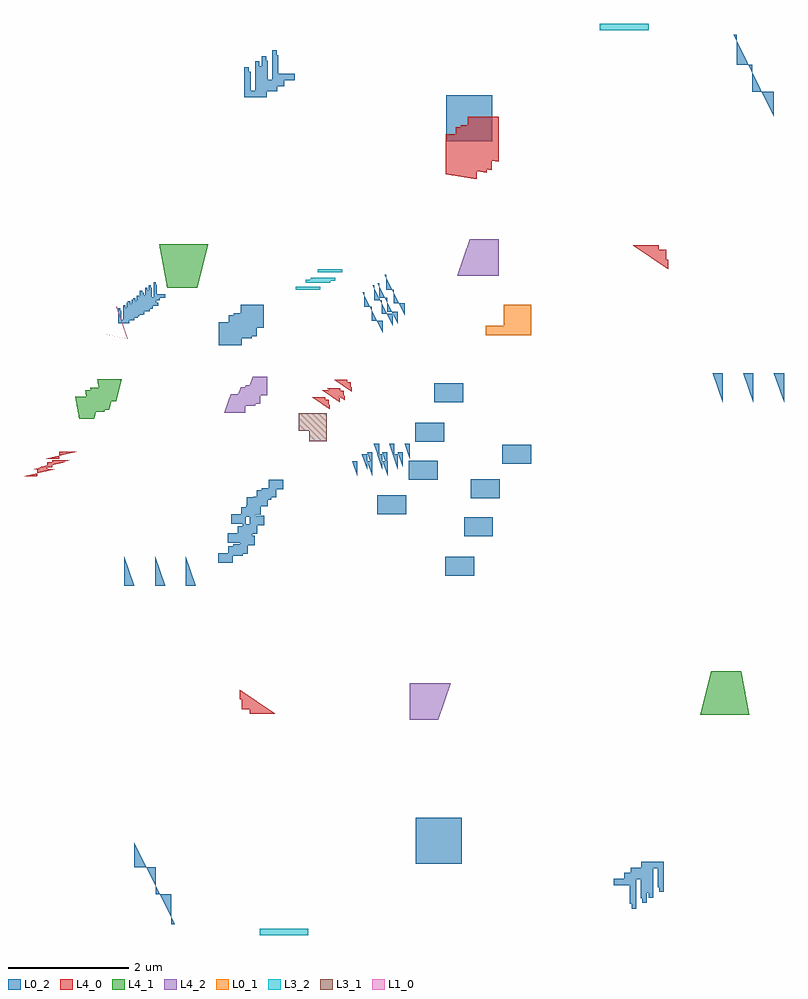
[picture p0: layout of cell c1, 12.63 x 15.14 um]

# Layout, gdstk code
from math import pi, radians
import gdstk
lib = gdstk.Library(unit=1e-6, precision=2.5e-09)
def R(c, l, rs):  # rectangles x0, y0, x1, y1
    for r in rs: c.add(gdstk.rectangle(r[:2], r[2:], *l))
def P(c, l, *ps):  # polygons
    for p in ps: c.add(gdstk.Polygon(p, *l))
L0_1 = (0, 1)
L0_2 = (0, 2)
L1_0 = (1, 0)
L3_1 = (3, 1)
L3_2 = (3, 2)
L4_0 = (4, 0)
L4_1 = (4, 1)
L4_2 = (4, 2)

c_c0 = lib.new_cell('c0')
R(c_c0, L0_2, [(0.035,-3.5775,0.8,-2.8125), (0.9625,2.235,1.4425,2.5475), (0.44,2.81,0.92,3.1225), (0.33,3.44,0.81,3.7525), (0.0175,4.1,0.4975,4.4125)])
P(c_c0, L0_2, [(4.46,1.045),(4.6275,1.045),(4.6275,1.5325)],
  [(4.97,1.045),(5.1375,1.045),(5.1375,1.5325)],
  [(5.48,1.045),(5.6475,1.045),(5.6475,1.5325)],
  [(4.8125,-4.58),(4.865,-4.58),(4.865,-4.085),(5.1225,-4.085),(5.1225,-3.63),(5.48,-3.63),(5.48,-3.2275)],
  [(-3.145,-4.1375),(-3.0725,-4.1375),(-3.0725,-4.06),(-3.0425,-4.06),(-3.0425,-3.75),(-2.7725,-3.75),(-2.7725,-3.6375),(-3.145,-3.6375)],
  [(-2.86,-4.32),(-2.7875,-4.32),(-2.7875,-4.2425),(-2.7575,-4.2425),(-2.7575,-3.9325),(-2.4875,-3.9325),(-2.4875,-3.82),(-2.86,-3.82)],
  [(-3.32,-4.04),(-3.2475,-4.04),(-3.2475,-3.9625),(-3.2175,-3.9625),(-3.2175,-3.6525),(-2.9475,-3.6525),(-2.9475,-3.54),(-3.32,-3.54)],
  [(-3.035,-4.2225),(-2.9625,-4.2225),(-2.9625,-4.145),(-2.9325,-4.145),(-2.9325,-3.835),(-2.6625,-3.835),(-2.6625,-3.7225),(-3.035,-3.7225)])
R(c_c0, L3_2, [(2.5875,-4.76,3.4,-4.655)])
P(c_c0, L4_0, [(3.1375,-1.08),(3.565,-1.08),(3.565,-1.0025),(3.6925,-1.0025),(3.6925,-0.8375),(3.725,-0.8375),(3.725,-0.685)])
P(c_c0, L4_1, [(-4.605,-0.375),(-4.1075,-0.375),(-3.9225,-1.095),(-4.74,-1.095)])
P(c_c0, L4_2, [(0.22,-0.575),(0.905,-0.575),(0.905,-1.1825),(0.4275,-1.1825)])
c_c0.add(gdstk.Label('lbl1', (-3.2775,-2.565), layer=3, texttype=0))
c_c0.add(gdstk.Label('lbl0', (-3.4825,-4.88), layer=0, texttype=2))
c_c0.add(gdstk.Label('lbl0', (-1.9275,-4.6025), layer=2, texttype=0))
c_c0.add(gdstk.Label('lbl0', (-1.9275,-4.5925), layer=2, texttype=0))
c_c0.add(gdstk.Label('lbl0', (-4.1225,-1.5425), layer=2, texttype=0))
c_c0.add(gdstk.Label('lbl0', (-3.6275,-1.7525), layer=2, texttype=0))
c_c0.add(gdstk.Label('lbl0', (-3.1975,-2.31), layer=2, texttype=0))
c_c0.add(gdstk.Label('lbl0', (-2.49,-1.9825), layer=2, texttype=0))

c_c1 = lib.new_cell('c1')
P(c_c1, L0_1, [(4.7325,1.85),(4.7325,2.0075),(5.0275,2.0075),(5.0275,2.36),(5.49,2.36),(5.49,1.85)])
P(c_c1, L4_0, [(4.0625,4.525),(4.0625,5.195),(4.5825,5.195),(4.5825,4.4425)],
  [(4.2275,4.64),(4.2275,5.31),(4.7475,5.31),(4.7475,4.5575)],
  [(4.3125,4.675),(4.3125,5.345),(4.8325,5.345),(4.8325,4.5925)],
  [(4.4275,4.815),(4.4275,5.485),(4.9475,5.485),(4.9475,4.7325)],
  [(-2.945,-0.49),(-2.725,-0.49),(-2.725,-0.375),(-2.4325,-0.375)],
  [(-2.78,-0.375),(-2.56,-0.375),(-2.56,-0.26),(-2.2675,-0.26)],
  [(-2.695,-0.34),(-2.475,-0.34),(-2.475,-0.225),(-2.1825,-0.225)],
  [(-2.58,-0.2),(-2.36,-0.2),(-2.36,-0.085),(-2.0675,-0.085)])
c_c1.add(gdstk.FlexPath([(-1.565,1.8625),(-1.225,1.795),(-1.3625,2.2)], 0.005, ends=(0, 0.1375), simple_path=True, layer=1, datatype=0))  # L1_0
c_c1.add(gdstk.FlexPath([(1.62,0.4125),(1.94,0.4125),(1.94,0.225)], 0.295, ends=(0, 0.1375), simple_path=True, layer=3, datatype=1))  # L3_1
c_c1.add(gdstk.Reference(c_c0, (4.37,-3.3575), rotation=pi, x_reflection=True))
c_c1.add(gdstk.Reference(c_c0, (4.04,2.2675), x_reflection=True))
c_c1.add(gdstk.Reference(c_c0, (0.2775,0.28), magnification=0.5, x_reflection=True))
c_c1.add(gdstk.Reference(c_c0, (0.4425,0.395), magnification=0.5, x_reflection=True))
c_c1.add(gdstk.Reference(c_c0, (0.5275,0.43), magnification=0.5, x_reflection=True))
c_c1.add(gdstk.Reference(c_c0, (0.6425,0.57), magnification=0.5, x_reflection=True))

lib.write_gds('c1.gds')
